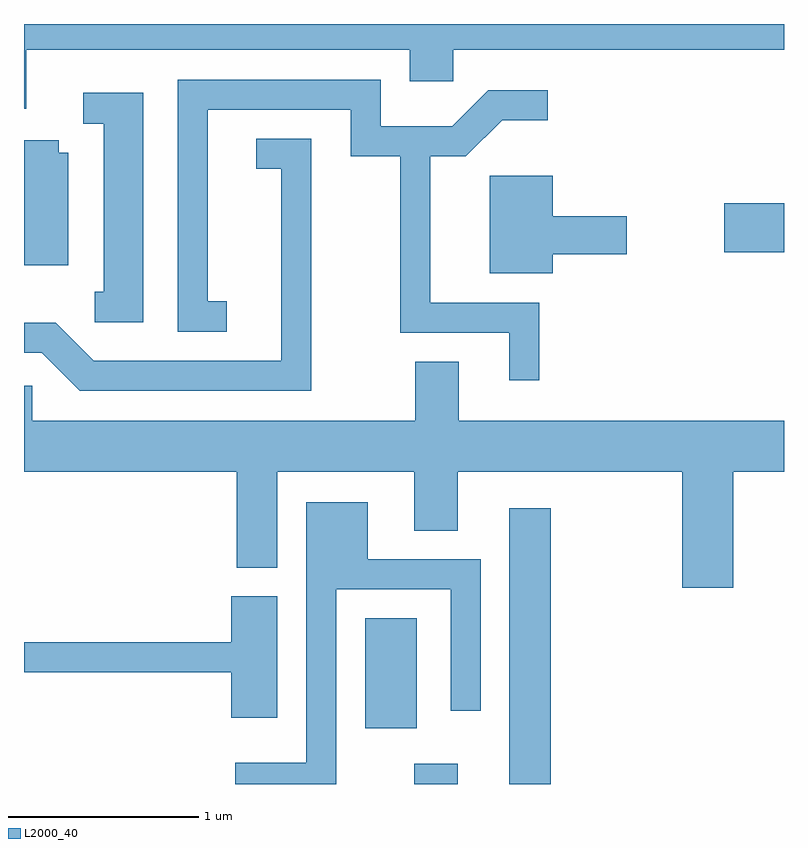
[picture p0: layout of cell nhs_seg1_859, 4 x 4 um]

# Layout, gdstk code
import gdstk
lib = gdstk.Library(unit=1e-6, precision=1e-09)
def R(c, l, rs):  # rectangles x0, y0, x1, y1
    for r in rs: c.add(gdstk.rectangle(r[:2], r[2:], *l))
def P(c, l, *ps):  # polygons
    for p in ps: c.add(gdstk.Polygon(p, *l))
L2000_40 = (2000, 40)

nhs_seg1_859 = lib.new_cell('nhs_seg1_859')
R(nhs_seg1_859, L2000_40, [(213.666,895.712,213.894,895.819), (214.166,895.712,214.384,897.164), (213.406,896.006,213.679,896.584), (215.296,898.511,215.611,898.769)])
P(nhs_seg1_859, L2000_40, [(211.624,899.576),(213.641,899.576),(213.641,899.411),(213.869,899.411),(213.869,899.576),(215.611,899.576),(215.611,899.712),(211.611,899.712),(211.611,899.266),(211.624,899.266)],
  [(214.324,898.244),(213.749,898.244),(213.749,899.016),(213.937,899.016),(214.127,899.206),(214.368,899.206),(214.368,899.364),(214.054,899.364),(213.864,899.174),(213.489,899.174),(213.489,899.419),(212.421,899.419),(212.421,898.091),(212.678,898.091),(212.678,898.254),(212.579,898.254),(212.579,899.261),(213.331,899.261),(213.331,899.016),(213.591,899.016),(213.591,898.086),(214.166,898.086),(214.166,897.838),(214.324,897.838)],
  [(212.239,899.349),(211.923,899.349),(211.923,899.186),(212.031,899.186),(212.031,898.304),(211.983,898.304),(211.983,898.141),(212.239,898.141)],
  [(213.124,899.109),(212.833,899.109),(212.833,898.951),(212.966,898.951),(212.966,897.939),(211.977,897.939),(211.777,898.139),(211.611,898.139),(211.611,897.981),(211.704,897.981),(211.904,897.781),(213.124,897.781)],
  [(211.844,899.034),(211.794,899.034),(211.794,899.099),(211.611,899.099),(211.611,898.441),(211.844,898.441)],
  [(214.394,898.501),(214.784,898.501),(214.784,898.699),(214.394,898.699),(214.394,898.914),(214.061,898.914),(214.061,898.401),(214.394,898.401)],
  [(215.344,897.356),(215.611,897.356),(215.611,897.624),(213.899,897.624),(213.899,897.934),(213.671,897.934),(213.671,897.624),(211.654,897.624),(211.654,897.809),(211.611,897.809),(211.611,897.356),(212.731,897.356),(212.731,896.851),(212.944,896.851),(212.944,897.356),(213.666,897.356),(213.666,897.046),(213.894,897.046),(213.894,897.356),(215.076,897.356),(215.076,896.746),(215.344,896.746)],
  [(213.254,896.736),(213.856,896.736),(213.856,896.098),(214.014,896.098),(214.014,896.894),(213.419,896.894),(213.419,897.194),(213.096,897.194),(213.096,895.824),(212.723,895.824),(212.723,895.712),(213.254,895.712)],
  [(212.944,896.699),(212.701,896.699),(212.701,896.459),(211.611,896.459),(211.611,896.301),(212.701,896.301),(212.701,896.061),(212.944,896.061)])

lib.write_gds('nhs_seg1_859.gds')
